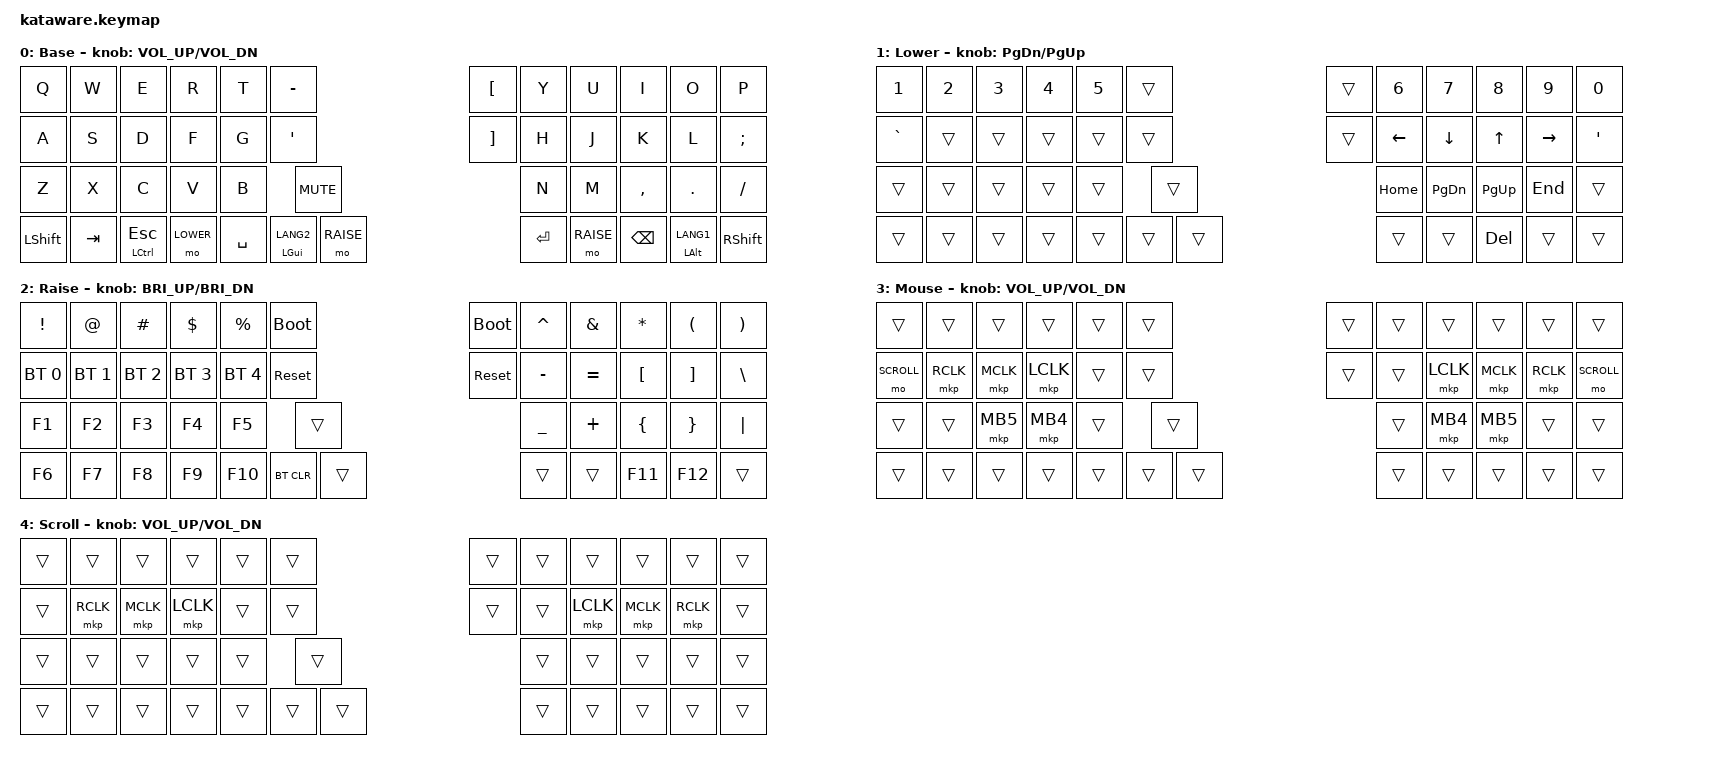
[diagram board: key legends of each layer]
/*
 * kataware キーマップ
 *
 * キーの割り当てはこのファイルを編集して変更します。
 * キーコード一覧: https://zmk.dev/docs/keymaps/list-of-keycodes
 */

#include <behaviors.dtsi>
#include <dt-bindings/zmk/keys.h>
#include <dt-bindings/zmk/bt.h>
#include <dt-bindings/zmk/pointing.h>
#include <input/processors.dtsi>

// レイヤー番号に名前を付けておく (数字を直接書くより分かりやすい)
#define BASE   0
#define LOWER  1
#define RAISE  2
#define MOUSE  3
#define SCROLL 4

/*
 * ===== トラックボールの動作設定 =====
 * - ボールを動かすと MOUSE レイヤーが自動でONになる (オートマウスレイヤー)
 *   → 右手ホームポジションのキーがクリックになる
 * - SCROLL レイヤー中はボールでスクロールする
 */
&zip_temp_layer {
    // 文字入力の直後 300ms はボールに触れてもマウスレイヤーにしない (誤爆防止)
    require-prior-idle-ms = <300>;
};

&trackball_listener {
    // 通常時: ボールを動かすと MOUSE レイヤーを 700ms だけONにする
    input-processors = <&zip_temp_layer MOUSE 700>;

    scroller {
        layers = <SCROLL>;
        // XY移動をスクロールに変換し、速度を 1/8 に落とす
        // スクロール方向が逆なら &zip_scroll_transform INPUT_TRANSFORM_Y_INVERT を追加
        input-processors = <&zip_xy_to_scroll_mapper &zip_scroll_scaler 1 8>;
    };
};

/*
 * キー配置図 (オーソリニア / 左24キー + 右22キー = 46キー + エンコーダー)
 *
 *  Q    W    E    R     T     -                    [     Y     U     I    O    P
 *  A    S    D    F     G     '                    ]     H     J     K    L    ;
 *  Z    X    C    V     B    (◎)              ●          N     M     ,    .    /
 *  Sft  Tab  Ctl  Lower Space 英数 Raise                 Enter Raise BS   かな  Sft
 *                            ↑ エンコーダー    ↑ トラックボール (右手・内側)
 *
 * エンコーダー (sensor-bindings): 回す = 音量 (Lower中はページ送り、Raise中は画面の明るさ)
 *                                押す = ミュート
 *
 * &mt A B = 「タップで B、長押しで A」
 *   Ctl  : タップで Esc、長押しで Ctrl
 *   英数 : タップで 英数、長押しで GUI(Win/Cmd)
 *   かな : タップで かな、長押しで Alt(Option)
 */
/ {
    keymap {
        compatible = "zmk,keymap";

        // 0: 基本レイヤー (QWERTY)
        base_layer {
            display-name = "Base";
            bindings = <
&kp Q     &kp W   &kp E         &kp R     &kp T     &kp MINUS                   &kp LBKT &kp Y   &kp U     &kp I     &kp O          &kp P
&kp A     &kp S   &kp D         &kp F     &kp G     &kp SQT                     &kp RBKT &kp H   &kp J     &kp K     &kp L          &kp SEMI
&kp Z     &kp X   &kp C         &kp V     &kp B     &kp C_MUTE                           &kp N   &kp M     &kp COMMA &kp DOT        &kp FSLH
&kp LSHFT &kp TAB &mt LCTRL ESC &mo LOWER &kp SPACE &mt LGUI LANG2 &mo RAISE             &kp RET &mo RAISE &kp BSPC  &mt LALT LANG1 &kp RSHFT
            >;
            sensor-bindings = <&inc_dec_kp C_VOL_UP C_VOL_DN>;
        };

        // 1: 数字・矢印
        lower_layer {
            display-name = "Lower";
            bindings = <
&kp N1    &kp N2 &kp N3 &kp N4 &kp N5 &trans           &trans &kp N6   &kp N7    &kp N8    &kp N9    &kp N0
&kp GRAVE &trans &trans &trans &trans &trans           &trans &kp LEFT &kp DOWN  &kp UP    &kp RIGHT &kp SQT
&trans    &trans &trans &trans &trans &trans                  &kp HOME &kp PG_DN &kp PG_UP &kp END   &trans
&trans    &trans &trans &trans &trans &trans &trans           &trans   &trans    &kp DEL   &trans    &trans
            >;
            sensor-bindings = <&inc_dec_kp PG_DN PG_UP>;
        };

        // 2: 記号・ファンクション・Bluetooth
        //    内側の追加キー: 上段 = ファームウェア書き込みモード (bootloader)、2段目 = 再起動 (reset)
        //    押した側 (左なら左、右なら右) が書き込みモードになる
        raise_layer {
            display-name = "Raise";
            bindings = <
&kp EXCL     &kp AT       &kp HASH     &kp DLLR     &kp PRCNT    &bootloader           &bootloader &kp CARET &kp AMPS  &kp ASTRK &kp LPAR &kp RPAR
&bt BT_SEL 0 &bt BT_SEL 1 &bt BT_SEL 2 &bt BT_SEL 3 &bt BT_SEL 4 &sys_reset            &sys_reset  &kp MINUS &kp EQUAL &kp LBKT  &kp RBKT &kp BSLH
&kp F1       &kp F2       &kp F3       &kp F4       &kp F5       &trans                            &kp UNDER &kp PLUS  &kp LBRC  &kp RBRC &kp PIPE
&kp F6       &kp F7       &kp F8       &kp F9       &kp F10      &bt BT_CLR  &trans                &trans    &trans    &kp F11   &kp F12  &trans
            >;
            sensor-bindings = <&inc_dec_kp C_BRI_UP C_BRI_DN>;
        };

        // 3: マウス (ボールを動かすと自動でON)
        //    右手 J=左クリック K=中クリック L=右クリック ;=スクロール
        //    左手 F=左クリック D=中クリック S=右クリック A=スクロール
        mouse_layer {
            display-name = "Mouse";
            bindings = <
&trans     &trans    &trans    &trans    &trans &trans           &trans &trans &trans    &trans    &trans    &trans
&mo SCROLL &mkp RCLK &mkp MCLK &mkp LCLK &trans &trans           &trans &trans &mkp LCLK &mkp MCLK &mkp RCLK &mo SCROLL
&trans     &trans    &mkp MB5  &mkp MB4  &trans &trans                  &trans &mkp MB4  &mkp MB5  &trans    &trans
&trans     &trans    &trans    &trans    &trans &trans &trans           &trans &trans    &trans    &trans    &trans
            >;
            sensor-bindings = <&inc_dec_kp C_VOL_UP C_VOL_DN>;
        };

        // 4: スクロール (マウスレイヤーのスクロールキーを押している間)
        scroll_layer {
            display-name = "Scroll";
            bindings = <
&trans &trans    &trans    &trans    &trans &trans           &trans &trans &trans    &trans    &trans    &trans
&trans &mkp RCLK &mkp MCLK &mkp LCLK &trans &trans           &trans &trans &mkp LCLK &mkp MCLK &mkp RCLK &trans
&trans &trans    &trans    &trans    &trans &trans                  &trans &trans    &trans    &trans    &trans
&trans &trans    &trans    &trans    &trans &trans &trans           &trans &trans    &trans    &trans    &trans
            >;
            sensor-bindings = <&inc_dec_kp C_VOL_UP C_VOL_DN>;
        };
    };
};
